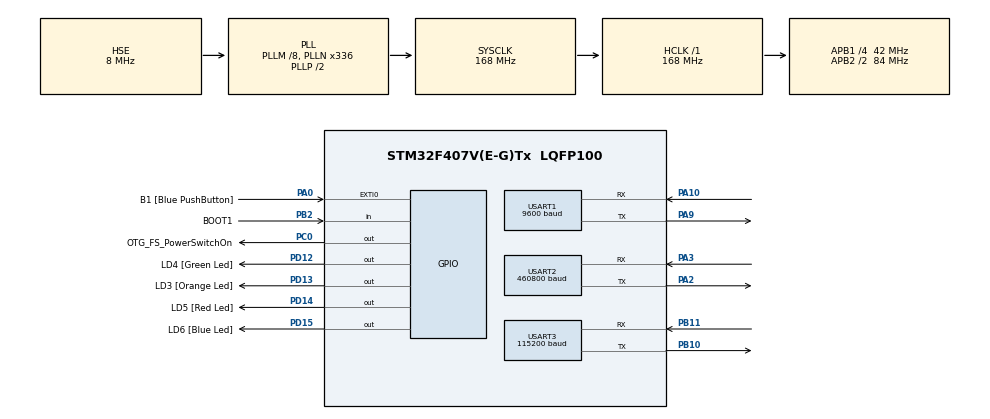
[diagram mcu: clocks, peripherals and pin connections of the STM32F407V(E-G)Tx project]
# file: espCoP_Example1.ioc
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Dma.Request0=USART3_RX
Dma.Request1=USART3_TX
Dma.Request2=USART2_TX
Dma.Request3=USART1_RX
Dma.Request4=USART1_TX
Dma.USART1_RX.3.Direction=DMA_PERIPH_TO_MEMORY
Dma.USART1_RX.3.FIFOMode=DMA_FIFOMODE_DISABLE
Dma.USART1_RX.3.Instance=DMA2_Stream2
Dma.USART1_RX.3.MemDataAlignment=DMA_MDATAALIGN_BYTE
Dma.USART1_RX.3.MemInc=DMA_MINC_ENABLE
Dma.USART1_RX.3.Mode=DMA_NORMAL
Dma.USART1_RX.3.PeriphDataAlignment=DMA_PDATAALIGN_BYTE
Dma.USART1_RX.3.PeriphInc=DMA_PINC_DISABLE
Dma.USART1_RX.3.Priority=DMA_PRIORITY_LOW
Dma.USART1_TX.4.Direction=DMA_MEMORY_TO_PERIPH
Dma.USART1_TX.4.FIFOMode=DMA_FIFOMODE_DISABLE
Dma.USART1_TX.4.Instance=DMA2_Stream7
Dma.USART1_TX.4.MemDataAlignment=DMA_MDATAALIGN_BYTE
Dma.USART1_TX.4.MemInc=DMA_MINC_ENABLE
Dma.USART1_TX.4.Mode=DMA_NORMAL
Dma.USART1_TX.4.PeriphDataAlignment=DMA_PDATAALIGN_BYTE
Dma.USART1_TX.4.PeriphInc=DMA_PINC_DISABLE
Dma.USART1_TX.4.Priority=DMA_PRIORITY_LOW
Dma.USART2_TX.2.Direction=DMA_MEMORY_TO_PERIPH
Dma.USART2_TX.2.FIFOMode=DMA_FIFOMODE_DISABLE
Dma.USART2_TX.2.Instance=DMA1_Stream6
Dma.USART2_TX.2.MemDataAlignment=DMA_MDATAALIGN_BYTE
Dma.USART2_TX.2.MemInc=DMA_MINC_ENABLE
Dma.USART2_TX.2.Mode=DMA_NORMAL
Dma.USART2_TX.2.PeriphDataAlignment=DMA_PDATAALIGN_BYTE
Dma.USART2_TX.2.PeriphInc=DMA_PINC_DISABLE
Dma.USART2_TX.2.Priority=DMA_PRIORITY_LOW
Dma.USART3_RX.0.Direction=DMA_PERIPH_TO_MEMORY
Dma.USART3_RX.0.FIFOMode=DMA_FIFOMODE_DISABLE
Dma.USART3_RX.0.Instance=DMA1_Stream1
Dma.USART3_RX.0.MemDataAlignment=DMA_MDATAALIGN_BYTE
Dma.USART3_RX.0.MemInc=DMA_MINC_ENABLE
Dma.USART3_RX.0.Mode=DMA_NORMAL
Dma.USART3_RX.0.PeriphDataAlignment=DMA_PDATAALIGN_BYTE
Dma.USART3_RX.0.PeriphInc=DMA_PINC_DISABLE
Dma.USART3_RX.0.Priority=DMA_PRIORITY_LOW
Dma.USART3_TX.1.Direction=DMA_MEMORY_TO_PERIPH
Dma.USART3_TX.1.FIFOMode=DMA_FIFOMODE_DISABLE
Dma.USART3_TX.1.Instance=DMA1_Stream3
Dma.USART3_TX.1.MemDataAlignment=DMA_MDATAALIGN_BYTE
Dma.USART3_TX.1.MemInc=DMA_MINC_ENABLE
Dma.USART3_TX.1.Mode=DMA_NORMAL
Dma.USART3_TX.1.PeriphDataAlignment=DMA_PDATAALIGN_BYTE
Dma.USART3_TX.1.PeriphInc=DMA_PINC_DISABLE
Dma.USART3_TX.1.Priority=DMA_PRIORITY_LOW
Mcu.Family=STM32F4
Mcu.Name=STM32F407V(E-G)Tx
Mcu.Package=LQFP100
NVIC.DMA1_Stream1_IRQn=true\:0\:0\:false\:false\:true\:false
NVIC.DMA1_Stream3_IRQn=true\:0\:0\:false\:false\:true\:false
NVIC.DMA1_Stream6_IRQn=true\:0\:0\:false\:false\:true\:false
NVIC.DMA2_Stream2_IRQn=true\:0\:0\:false\:false\:true\:false
NVIC.DMA2_Stream7_IRQn=true\:0\:0\:false\:false\:true\:false
NVIC.PriorityGroup=NVIC_PRIORITYGROUP_0
NVIC.USART1_IRQn=true\:0\:0\:false\:false\:true\:true
NVIC.USART2_IRQn=true\:0\:0\:false\:false\:true\:true
NVIC.USART3_IRQn=true\:0\:0\:false\:false\:true\:true
PA0-WKUP.GPIO_Label=B1 [Blue PushButton]
PA0-WKUP.GPIO_ModeDefaultEXTI=GPIO_MODE_EVT_RISING
PA0-WKUP.GPIO_PuPd=GPIO_NOPULL
PA0-WKUP.Signal=GPXTI0
PA10.Mode=Asynchronous
PA10.Signal=USART1_RX
PA13.GPIO_Label=SWDIO
PA13.Mode=Serial_Wire
PA13.Signal=SYS_JTMS-SWDIO
PA14.GPIO_Label=SWCLK
PA14.Mode=Serial_Wire
PA14.Signal=SYS_JTCK-SWCLK
PA2.Mode=Asynchronous
PA2.Signal=USART2_TX
PA3.Mode=Asynchronous
PA3.Signal=USART2_RX
PA9.Mode=Asynchronous
PA9.Signal=USART1_TX
PB10.Mode=Asynchronous
PB10.Signal=USART3_TX
PB11.Mode=Asynchronous
PB11.Signal=USART3_RX
PB2.GPIO_Label=BOOT1
PB2.GPIO_Mode=GPIO_MODE_INPUT
PB2.GPIO_PuPd=GPIO_NOPULL
PB2.Signal=GPIO_Input
PB3.GPIO_Label=SWO
PB3.Signal=SYS_JTDO-SWO
PC0.GPIO_Label=OTG_FS_PowerSwitchOn
PC0.GPIO_PuPd=GPIO_NOPULL
PC0.GPIO_Speed=GPIO_SPEED_FREQ_LOW
PC0.PinState=GPIO_PIN_SET
PC0.Signal=GPIO_Output
PC14-OSC32_IN.GPIO_Label=PC14-OSC32_IN
PC14-OSC32_IN.Mode=LSE-External-Oscillator
PC14-OSC32_IN.Signal=RCC_OSC32_IN
PC15-OSC32_OUT.GPIO_Label=PC15-OSC32_OUT
PC15-OSC32_OUT.Mode=LSE-External-Oscillator
PC15-OSC32_OUT.Signal=RCC_OSC32_OUT
PC3.GPIO_Label=PDM_OUT [MP45DT02_DOUT]
PC3.GPIO_Mode=GPIO_MODE_AF_PP
PC3.GPIO_PuPd=GPIO_NOPULL
PC3.GPIO_Speed=GPIO_SPEED_FREQ_LOW
PC3.Signal=I2S2_SD
PD12.GPIO_Label=LD4 [Green Led]
PD12.GPIO_PuPd=GPIO_NOPULL
PD12.GPIO_Speed=GPIO_SPEED_FREQ_LOW
PD12.Signal=GPIO_Output
PD13.GPIO_Label=LD3 [Orange Led]
PD13.GPIO_PuPd=GPIO_NOPULL
PD13.GPIO_Speed=GPIO_SPEED_FREQ_LOW
PD13.Signal=GPIO_Output
PD14.GPIO_Label=LD5 [Red Led]
PD14.GPIO_PuPd=GPIO_NOPULL
PD14.GPIO_Speed=GPIO_SPEED_FREQ_LOW
PD14.Signal=GPIO_Output
PD15.GPIO_Label=LD6 [Blue Led]
PD15.GPIO_PuPd=GPIO_NOPULL
PD15.GPIO_Speed=GPIO_SPEED_FREQ_LOW
PD15.Signal=GPIO_Output
PH0-OSC_IN.GPIO_Label=PH0-OSC_IN
PH0-OSC_IN.Mode=HSE-External-Oscillator
PH0-OSC_IN.Signal=RCC_OSC_IN
PH1-OSC_OUT.GPIO_Label=PH1-OSC_OUT
PH1-OSC_OUT.Mode=HSE-External-Oscillator
PH1-OSC_OUT.Signal=RCC_OSC_OUT
ProjectManager.HeapSize=0x200
ProjectManager.StackSize=0x400
ProjectManager.TargetToolchain=TrueSTUDIO
RCC.48MHZClocksFreq_Value=48000000
RCC.AHBFreq_Value=168000000
RCC.APB1CLKDivider=RCC_HCLK_DIV4
RCC.APB1Freq_Value=42000000
RCC.APB1TimFreq_Value=84000000
RCC.APB2CLKDivider=RCC_HCLK_DIV2
RCC.APB2Freq_Value=84000000
RCC.APB2TimFreq_Value=168000000
RCC.CortexFreq_Value=168000000
RCC.HCLKFreq_Value=168000000
RCC.HSE_VALUE=8000000
RCC.HSI_VALUE=16000000
RCC.PLLM=8
RCC.PLLN=336
RCC.PLLQ=7
RCC.PLLSourceVirtual=RCC_PLLSOURCE_HSE
RCC.SYSCLKFreq_VALUE=168000000
RCC.SYSCLKSource=RCC_SYSCLKSOURCE_PLLCLK
RCC.VCOOutputFreq_Value=336000000
USART1.BaudRate=9600
USART1.VirtualMode=VM_ASYNC
USART2.BaudRate=460800
USART2.Mode=MODE_TX
USART2.VirtualMode=VM_ASYNC
USART3.BaudRate=115200
USART3.VirtualMode=VM_ASYNC
board=STM32F4DISCOVERY

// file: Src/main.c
/* USER CODE BEGIN Header */
/**
  ******************************************************************************
  * @file           : main.c
  * @brief          : Main program body
  ******************************************************************************
  ** This notice applies to any and all portions of this file
  * that are not between comment pairs USER CODE BEGIN and
  * USER CODE END. Other portions of this file, whether
  * inserted by the user or by software development tools
  * are owned by their respective copyright owners.
  *
  * COPYRIGHT(c) 2019 STMicroelectronics
  *
  * Redistribution and use in source and binary forms, with or without modification,
  * are permitted provided that the following conditions are met:
  *   1. Redistributions of source code must retain the above copyright notice,
  *      this list of conditions and the following disclaimer.
  *   2. Redistributions in binary form must reproduce the above copyright notice,
  *      this list of conditions and the following disclaimer in the documentation
  *      and/or other materials provided with the distribution.
  *   3. Neither the name of STMicroelectronics nor the names of its contributors
  *      may be used to endorse or promote products derived from this software
  *      without specific prior written permission.
  *
  * THIS SOFTWARE IS PROVIDED BY THE COPYRIGHT HOLDERS AND CONTRIBUTORS "AS IS"
  * AND ANY EXPRESS OR IMPLIED WARRANTIES, INCLUDING, BUT NOT LIMITED TO, THE
  * IMPLIED WARRANTIES OF MERCHANTABILITY AND FITNESS FOR A PARTICULAR PURPOSE ARE
  * DISCLAIMED. IN NO EVENT SHALL THE COPYRIGHT HOLDER OR CONTRIBUTORS BE LIABLE
  * FOR ANY DIRECT, INDIRECT, INCIDENTAL, SPECIAL, EXEMPLARY, OR CONSEQUENTIAL
  * DAMAGES (INCLUDING, BUT NOT LIMITED TO, PROCUREMENT OF SUBSTITUTE GOODS OR
  * SERVICES; LOSS OF USE, DATA, OR PROFITS; OR BUSINESS INTERRUPTION) HOWEVER
  * CAUSED AND ON ANY THEORY OF LIABILITY, WHETHER IN CONTRACT, STRICT LIABILITY,
  * OR TORT (INCLUDING NEGLIGENCE OR OTHERWISE) ARISING IN ANY WAY OUT OF THE USE
  * OF THIS SOFTWARE, EVEN IF ADVISED OF THE POSSIBILITY OF SUCH DAMAGE.
  *
  ******************************************************************************
  */
/* USER CODE END Header */

#include "main.h"
#include "dma.h"
#include "usart.h"
#include "gpio.h"

/* USER CODE BEGIN Includes */
#include <stack/esp_basic.h>
#include <stack/esp_wifi.h>
#include <stack/esp_tcpip.h>
#include "debug.h"
#include "slre.h"
#include "queue.h"
#include "esp_sockets.h"
#include "esp_port.h"
#include "assert.h"
#include "esp_client.h"
#include "esp_server.h"

#include <string.h>
/* USER CODE END Includes */

/* USER CODE BEGIN PD */
//#define SSID	"HUAWEI-DUge\0"
//#define PASS	"485754439FED179D\0"
#define SSID	"AlVik\0"
#define PASS	"xPo#h0c2016\0"
/* USER CODE END PD */

/* USER CODE BEGIN PV */
static uint8_t message[] = "Hello\r\n";
//static uint8_t message1[] = "Hello1\r\n";
static uint8_t buffer[50];
//static uint8_t buffer1[50];
/* USER CODE END PV */

void SystemClock_Config(void);

/* USER CODE BEGIN 0 */
//static void server_data_handle(esocket_t* socket)
//{
//	uint8_t data[50] = {0};
//
//	assert(NULL != socket);
//
//	size_t size = esp_socket_get_rx_data_num(socket);
//	esp_conn_id_t id = esp_socket_get_connection_id(socket);
//
//	debug_info("[Server RX]: len = %d, id = %d\r\n", size, CONVER_TO_NUMBER(id));
//
//	for(size_t i = 0; i < size; i++)
//	{
//		uint8_t ch = '\0';
//
//		if(esp_socket_rx_data_denqueue(socket, &ch))
//		{
//			data[i] = ch;
//			debug_info("%c", ch);
//		}
//	}
//
//	debug_info("\r\n");
//
//	esp_server_transmit(socket, data, size);
//
//}
/* USER CODE END 0 */

int main(void)
{
  /* USER CODE BEGIN 1 */
	esocket_t* socket = NULL;
	const char ssid[] = SSID;
	const char password[] = PASS;
	char ssid_cur[35] = {0};
	ip4addr_t ip = 0;
	ip4addr_t gw = 0;
	ip4addr_t mask = 0;
	esp_tcp_cfg_t connParam;
	char ipStr[] = "192.168.100.57\0";
	char _ip[] = "000.000.000.000\0";
	char _gw[] = "000.000.000.000\0";
	char _msk[] = "000.000.000.000\0";
	esp_at_version_t at_version = {0};
	esp_sdk_version_t sdk_version = {0};
	char at_string[10] = {0};
	char sdk_string[10] = {0};
	uint32_t count = 3;
	esp_status_t res = ESP_INNER_ERR;
	int32_t len = 0;
  /* USER CODE END 1 */

  /* MCU Configuration--------------------------------------------------------*/

  /* Reset of all peripherals, Initializes the Flash interface and the Systick. */
  HAL_Init();

  /* Configure the system clock */
  SystemClock_Config();

  /* Initialize all configured peripherals */
  MX_GPIO_Init();
  MX_DMA_Init();
  MX_USART3_UART_Init();
  MX_USART2_UART_Init();
  MX_USART1_UART_Init();
  /* USER CODE BEGIN 2 */
  debug_init();
  esp_drv_init();

  convert_string_to_ip4addr(&connParam.remoteIp, ipStr);
  connParam.remotePort = 9000;
  connParam.keepAlive = 0;
  connParam.id = ESP_ID_NONE;

  debug_info("Example #1\r\n");
  debug_info("\t- WiFi in station mode\r\n");
  debug_info("\t- TCP client\r\n");
  debug_info("\t- Single connection mode\r\n");
  debug_info("\t- Transparent transmit mode\r\n");
  debug_info("\r\n");
  debug_info("\r\n");

  esp_get_version(&at_version, &sdk_version, 2000);
  esp_at_version_to_string(&at_version, at_string);
  esp_sdk_version_to_string(&sdk_version, sdk_string);

  debug_info("AT command version: %s\r\n", at_string);
  debug_info("SDK version: %s\r\n", sdk_string);

  debug_info("Setup WiFi station mode...");
  if(esp_wifi_mode_setup(ESP_WIFI_STATION, false, 5000u))
  {
	  debug_info(" PASS\r\n");

	  debug_info("Check connection to Wifi AP: \r\n");
	  if(esp_wifi_ap_ssid_request(ssid_cur, false, 5000u) == ESP_PASS)
	  {
		  if(strlen(ssid_cur) != 0)
		  {
			  debug_info("\tjoin to %s\r\n", ssid_cur);
			  if(esp_wifi_ap_unjoin(5000u))
			  {
				  debug_info("\tunjoin from %s\r\n", ssid_cur);
			  }
		  }
		  else
		  {
			  debug_info("\tdo not join\r\n");
		  }
	  }

	  debug_info("Join to SSID: %s...", ssid);
	  while(res != ESP_PASS && count > 0)
	  {
		  res = esp_wifi_ap_join(ssid, password, false, 5000u);
		  count--;
	  }

	  if(res == ESP_PASS)
	  {
		  debug_info(" PASS\r\n");
		  debug_info("Request station IP...");

		  res = ESP_INNER_ERR;
		  count = 1;
		  while(res != ESP_PASS && count != 0)
		  {
			  res = esp_wifi_station_ip_request(&ip, &gw, &mask, false, 5000u);
			  count++;
		  }
		  if(res == ESP_PASS)
		  {
			  debug_info(" PASS\r\n");

			  convert_ip4addr_to_string(ip, _ip);
			  convert_ip4addr_to_string(gw, _gw);
			  convert_ip4addr_to_string(mask, _msk);

			  debug_info("\tIP: %s\r\n", _ip);
			  debug_info("\tGW: %s\r\n", _gw);
			  debug_info("\tMASK: %s\r\n", _msk);

		  	  if(esp_client_init(/*ESP_SOCKET_CLIENT*/))
		  	  {
		  		  debug_info(" PASS\r\n");
		  		  debug_info("Opening tcp socket...");
				  socket = esp_connection_open(connParam.remoteIp, connParam.remotePort);
				  if(socket != NULL)
				  {
					  debug_info(" PASS\r\n");
					  esp_client_transmit(socket, message, sizeof(message));
				  }
			  	  else
			  	  {
			  		  debug_error(" FAULT\r\n");
			  	  }
		  	  }
		  	  else
		  	  {
		  		  debug_error(" FAULT\r\n");
		  	  }

//			  esp_server_init(333, 1, 0);
//			  esp_register_server_receive_cb(server_data_handle);
		  }
		  else
		  {
			  debug_error(" FAULT\r\n");
		  }
	  }
	  else
	  {
		  debug_error(" FAULT\r\n");
	  }
  }

  /* USER CODE END 2 */

  /* Infinite loop */
  while (1)
  {
    /* USER CODE BEGIN 3 */
	esp_drv_receive_handle();
	esp_drv_transmit_handle();

	len = esp_client_receive(socket, buffer, sizeof(buffer));
	if(len > 0) {
		esp_client_transmit(socket, buffer, len);
		memset(buffer, 0, sizeof(buffer));
//		esp_connection_close(socket);
	}
  }
  /* USER CODE END 3 */
}

void SystemClock_Config(void)
{
  RCC_OscInitTypeDef RCC_OscInitStruct = {0};
  RCC_ClkInitTypeDef RCC_ClkInitStruct = {0};

  /**Configure the main internal regulator output voltage
  */
  __HAL_RCC_PWR_CLK_ENABLE();
  __HAL_PWR_VOLTAGESCALING_CONFIG(PWR_REGULATOR_VOLTAGE_SCALE1);
  /**Initializes the CPU, AHB and APB busses clocks
  */
  RCC_OscInitStruct.OscillatorType = RCC_OSCILLATORTYPE_HSE;
  RCC_OscInitStruct.HSEState = RCC_HSE_ON;
  RCC_OscInitStruct.PLL.PLLState = RCC_PLL_ON;
  RCC_OscInitStruct.PLL.PLLSource = RCC_PLLSOURCE_HSE;
  RCC_OscInitStruct.PLL.PLLM = 8;
  RCC_OscInitStruct.PLL.PLLN = 336;
  RCC_OscInitStruct.PLL.PLLP = RCC_PLLP_DIV2;
  RCC_OscInitStruct.PLL.PLLQ = 7;
  if (HAL_RCC_OscConfig(&RCC_OscInitStruct) != HAL_OK)
  {
    Error_Handler();
  }
  /**Initializes the CPU, AHB and APB busses clocks
  */
  RCC_ClkInitStruct.ClockType = RCC_CLOCKTYPE_HCLK|RCC_CLOCKTYPE_SYSCLK
                              |RCC_CLOCKTYPE_PCLK1|RCC_CLOCKTYPE_PCLK2;
  RCC_ClkInitStruct.SYSCLKSource = RCC_SYSCLKSOURCE_PLLCLK;
  RCC_ClkInitStruct.AHBCLKDivider = RCC_SYSCLK_DIV1;
  RCC_ClkInitStruct.APB1CLKDivider = RCC_HCLK_DIV4;
  RCC_ClkInitStruct.APB2CLKDivider = RCC_HCLK_DIV2;

  if (HAL_RCC_ClockConfig(&RCC_ClkInitStruct, FLASH_LATENCY_5) != HAL_OK)
  {
    Error_Handler();
  }
}

void Error_Handler(void)
{
}

#ifdef  USE_FULL_ASSERT
/**
  * @brief  Reports the name of the source file and the source line number
  *         where the assert_param error has occurred.
  * @param  file: pointer to the source file name
  * @param  line: assert_param error line source number
  * @retval None
  */
void assert_failed(uint8_t *file, uint32_t line)
{
  /* USER CODE BEGIN 6 */
  /* User can add his own implementation to report the file name and line number,
     tex: printf("Wrong parameters value: file %s on line %d\r\n", file, line) */
	debug_critical("Wrong parameters value: file %s on line %d\r\n", file, line);
  /* USER CODE END 6 */
}
#endif /* USE_FULL_ASSERT */

/************************ (C) COPYRIGHT STMicroelectronics *****END OF FILE****/
